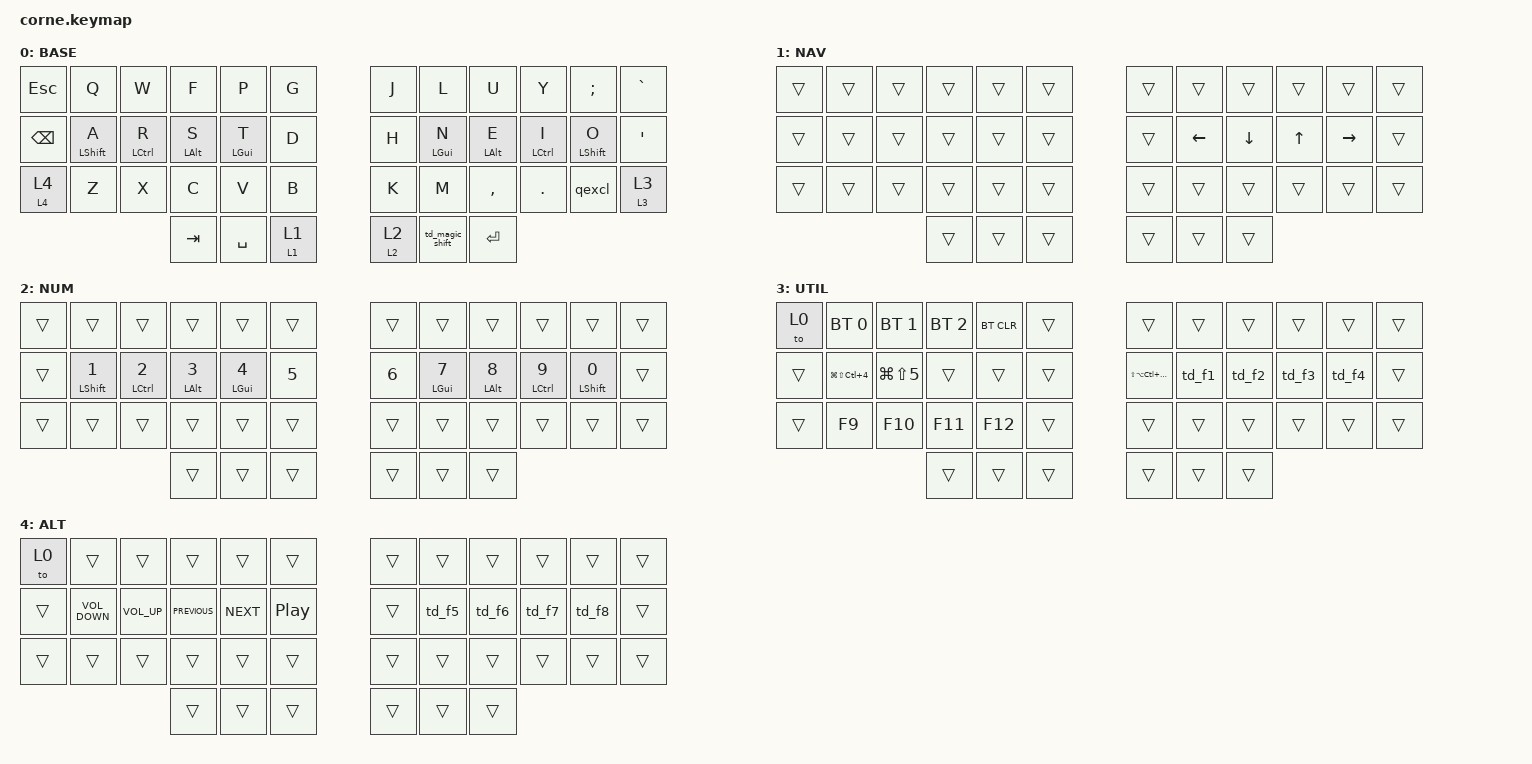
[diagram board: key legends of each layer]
/*
 * Copyright (c) 2020 The ZMK Contributors
 *
 * SPDX-License-Identifier: MIT
 */

#include <behaviors.dtsi>
#include <dt-bindings/zmk/bt.h>
#include <dt-bindings/zmk/keys.h>

/ {
    behaviors {
        hml: homerow_mods_left {
            compatible = "zmk,behavior-hold-tap";
            label = "HOMEROW_MODS_LEFT";
            #binding-cells = <2>;
            tapping-term-ms = <280>;
            quick-tap-ms = <175>;
            flavor = "balanced";
            bindings = <&kp>, <&kp>;

            require-prior-idle-ms = <150>;
            hold-trigger-on-release;
            hold-trigger-key-positions = <6 7 8 9 10 11 18 19 20 21 22 23 30 31 32 33 34 35 39 40 41 36 37 38>;
        };

        hmr: homerow_mods_right {
            compatible = "zmk,behavior-hold-tap";
            label = "HOMEROW_MODS_RIGHT";
            #binding-cells = <2>;
            tapping-term-ms = <280>;
            quick-tap-ms = <175>;
            flavor = "balanced";
            bindings = <&kp>, <&kp>;

            require-prior-idle-ms = <150>;
            hold-trigger-on-release;
            hold-trigger-key-positions = <0 1 2 3 4 5 12 13 14 15 16 17 24 25 26 27 28 29 36 37 38 39 40 41>;
        };

        ltq: ltq {
            compatible = "zmk,behavior-hold-tap";
            label = "LTQ";
            bindings = <&mo>, <&kp>;

            #binding-cells = <2>;
            tapping-term-ms = <600>;
            global-quick-tap;
            quick-tap-ms = <400>;
        };

        td_arrow_fn: td_arrow_fn {
            compatible = "zmk,behavior-tap-dance";
            label = "TD_ARROW_FN";
            #binding-cells = <0>;
            tapping-term-ms = <350>;
            bindings = <&kp GREATER_THAN>, <&arrow_fn>;
        };

        td_f1: td_f1 {
            compatible = "zmk,behavior-tap-dance";
            label = "TD_F1";
            #binding-cells = <0>;
            tapping-term-ms = <350>;
            bindings = <&kp F1>, <&kp LA(F1)>, <&kp LG(F1)>;
        };

        td_f2: td_f2 {
            compatible = "zmk,behavior-tap-dance";
            label = "TD_F2";
            #binding-cells = <0>;
            tapping-term-ms = <350>;
            bindings = <&kp F2>, <&kp LA(F2)>, <&kp LG(F2)>;
        };

        td_f3: td_f3 {
            compatible = "zmk,behavior-tap-dance";
            label = "TD_F3";
            #binding-cells = <0>;
            tapping-term-ms = <350>;
            bindings = <&kp F3>, <&kp LA(F3)>, <&kp LG(F3)>;
        };

        td_f4: td_f4 {
            compatible = "zmk,behavior-tap-dance";
            label = "TD_F4";
            #binding-cells = <0>;
            tapping-term-ms = <350>;
            bindings = <&kp F4>, <&kp LA(F4)>, <&kp LG(F4)>;
        };

        td_f5: td_f5 {
            compatible = "zmk,behavior-tap-dance";
            label = "TD_F5";
            #binding-cells = <0>;
            tapping-term-ms = <350>;
            bindings = <&kp F5>, <&kp LA(F5)>, <&kp LG(F5)>;
        };

        td_f6: td_f6 {
            compatible = "zmk,behavior-tap-dance";
            label = "TD_F6";
            #binding-cells = <0>;
            tapping-term-ms = <350>;
            bindings = <&kp F6>, <&kp LA(F6)>, <&kp LG(F6)>;
        };

        td_f7: td_f7 {
            compatible = "zmk,behavior-tap-dance";
            label = "TD_F7";
            #binding-cells = <0>;
            tapping-term-ms = <350>;
            bindings = <&kp F7>, <&kp LA(F7)>, <&kp LG(F7)>;
        };

        td_f8: td_f8 {
            compatible = "zmk,behavior-tap-dance";
            label = "TD_F8";
            #binding-cells = <0>;
            tapping-term-ms = <350>;
            bindings = <&kp F8>, <&kp LA(F8)>, <&kp LG(F8)>;
        };

        td_magic_shift: td_magic_shift {
            compatible = "zmk,behavior-tap-dance";
            label = "TD_MAGIC_SHIFT";
            #binding-cells = <0>;
            tapping-term-ms = <200>;
            bindings = <&sk LEFT_SHIFT>, <&caps_word>;
        };

        magic_layer: magic_layer {
            compatible = "zmk,behavior-hold-tap";
            label = "MAGIC_LAYER";
            bindings = <&mo>, <&sl>;

            #binding-cells = <2>;
            tapping-term-ms = <200>;
            quick-tap-ms = <175>;
            require-prior-idle-ms = <150>;
            flavor = "balanced";
            hold-trigger-on-release;
        };

        td_magic_layer_2: td_magic_layer_2 {
            compatible = "zmk,behavior-tap-dance";
            label = "TD_MAGIC_LAYER_2";
            #binding-cells = <0>;
            bindings = <&magic_layer 3 3>, <&tog 3>;

            tapping-term-ms = <200>;
        };

        td_magic_layer_3: td_magic_layer_3 {
            compatible = "zmk,behavior-tap-dance";
            label = "TD_MAGIC_LAYER_3";
            #binding-cells = <0>;
            bindings = <&magic_layer 3 3>, <&tog 3>;

            tapping-term-ms = <200>;
        };

        td_magic_layer_4: td_magic_layer_4 {
            compatible = "zmk,behavior-tap-dance";
            label = "TD_MAGIC_LAYER_4";
            #binding-cells = <0>;
            bindings = <&magic_layer 4 4>, <&tog 4>;

            tapping-term-ms = <200>;
        };

        qexcl: qexcl {
            compatible = "zmk,behavior-mod-morph";
            label = "QEXCL";
            bindings = <&kp QUESTION>, <&kp EXCL>;

            #binding-cells = <0>;
            mods = <(MOD_LSFT)>;
        };

        lpar: lpar {
            compatible = "zmk,behavior-mod-morph";
            label = "LPAR";
            bindings = <&kp LEFT_PARENTHESIS>, <&kp LESS_THAN>;

            #binding-cells = <0>;
            mods = <(MOD_LSFT)>;
        };

        rpar: rpar {
            compatible = "zmk,behavior-mod-morph";
            label = "RPAR";
            bindings = <&kp RIGHT_PARENTHESIS>, <&kp GREATER_THAN>;

            #binding-cells = <0>;
            mods = <(MOD_LSFT)>;
        };

        td_alt_layers: td_alt_layers {
            compatible = "zmk,behavior-tap-dance";
            label = "TD_ALT_LAYERS";
            #binding-cells = <0>;
            bindings = <&magic_layer 0 0>, <&magic_layer 4 4>;

            tapping-term-ms = <200>;
        };

        td_equals_afn: td_equals_afn {
            compatible = "zmk,behavior-tap-dance";
            label = "TD_EQUALS_AFN";
            #binding-cells = <0>;
            bindings = <&kp EQUAL>, <&arrow_fn>;
        };

        layer_hold_tap: layer_hold_tap {
            compatible = "zmk,behavior-hold-tap";
            label = "LAYER_HOLD_TAP";
            #binding-cells = <2>;
            tapping-term-ms = <280>;
            quick-tap-ms = <175>;
            flavor = "balanced";
            bindings = <&mo>, <&sl>;

            require-prior-idle-ms = <150>;
            hold-trigger-on-release;
        };
    };

    combos {
        compatible = "zmk,combos";

        at {
            bindings = <&kp AT>;
            key-positions = <2 14>;
        };

        hash {
            bindings = <&kp HASH>;
            key-positions = <3 15>;
        };

        dollar {
            bindings = <&kp DOLLAR>;
            key-positions = <4 16>;
        };

        percent {
            bindings = <&kp PERCENT>;
            key-positions = <5 17>;
        };

        grave {
            bindings = <&kp GRAVE>;
            key-positions = <26 14>;
        };

        backslash {
            bindings = <&kp BACKSLASH>;
            key-positions = <15 27>;
        };

        arrow_fn {
            bindings = <&arrow_fn>;
            key-positions = <16 28>;
        };

        tilde {
            bindings = <&kp TILDE>;
            key-positions = <17 29>;
        };

        caret {
            bindings = <&kp CARET>;
            key-positions = <18 6>;
        };

        equal_plus {
            bindings = <&kp EQUAL>;
            key-positions = <7 19>;
        };

        asterisk {
            bindings = <&kp ASTERISK>;
            key-positions = <8 20>;
        };

        ampersand {
            bindings = <&kp AMPS>;
            key-positions = <9 21>;
        };

        underscore {
            bindings = <&kp UNDER>;
            key-positions = <18 30>;
        };

        minus {
            bindings = <&kp MINUS>;
            key-positions = <31 19>;
        };

        slash {
            bindings = <&kp SLASH>;
            key-positions = <20 32>;
        };

        pipe {
            bindings = <&kp PIPE>;
            key-positions = <21 33>;
        };

        lpar {
            bindings = <&lpar>;
            key-positions = <19 20>;
        };

        rpar {
            bindings = <&rpar>;
            key-positions = <21 20>;
        };

        lbkt {
            bindings = <&kp LEFT_BRACKET>;
            key-positions = <31 32>;
        };

        rbkt {
            bindings = <&kp RIGHT_BRACKET>;
            key-positions = <33 32>;
        };

        rbrace {
            bindings = <&kp RIGHT_BRACE>;
            key-positions = <8 9>;
        };

        lbrace {
            bindings = <&kp LEFT_BRACE>;
            key-positions = <7 8>;
        };
    };

    macros {
        arrow_fn: arrow_fn {
            compatible = "zmk,behavior-macro";
            #binding-cells = <0>;
            bindings = <&kp EQUAL &kp GT>;
            label = "ARROW_FN";
        };
    };

    keymap {
        compatible = "zmk,keymap";

        default_layer {
            display-name = "BASE";
            bindings = <
&kp ESCAPE           &kp Q              &kp W         &kp F            &kp P            &kp G                  &kp J                &kp L            &kp U            &kp Y         &kp SEMI           &kp GRAVE
&kp BACKSPACE        &hml LEFT_SHIFT A  &hml LCTRL R  &hml LEFT_ALT S  &hml LEFT_GUI T  &kp D                  &kp H                &hmr LEFT_GUI N  &hmr LEFT_ALT E  &hmr LCTRL I  &hmr LEFT_SHIFT O  &kp SINGLE_QUOTE
&layer_hold_tap 4 4  &kp Z              &kp X         &kp C            &kp V            &kp B                  &kp K                &kp M            &kp COMMA        &kp DOT       &qexcl             &layer_hold_tap 3 3
                                                      &kp TAB          &kp SPACE        &layer_hold_tap 1 1    &layer_hold_tap 2 2  &td_magic_shift  &kp ENTER
            >;
        };

        nav {
            display-name = "NAV";
            bindings = <
&trans  &trans  &trans  &trans  &trans  &trans    &trans  &trans    &trans    &trans  &trans     &trans
&trans  &trans  &trans  &trans  &trans  &trans    &trans  &kp LEFT  &kp DOWN  &kp UP  &kp RIGHT  &trans
&trans  &trans  &trans  &trans  &trans  &trans    &trans  &trans    &trans    &trans  &trans     &trans
                        &trans  &trans  &trans    &trans  &trans    &trans
            >;
        };

        num {
            display-name = "NUM";
            bindings = <
&trans  &trans              &trans               &trans                  &trans                  &trans    &trans  &trans            &trans            &trans         &trans              &trans
&trans  &hml LEFT_SHIFT N1  &hml LCTRL NUMBER_2  &hml LEFT_ALT NUMBER_3  &hml LEFT_GUI NUMBER_4  &kp N5    &kp N6  &hmr LEFT_GUI N7  &hmr LEFT_ALT N8  &hmr LCTRL N9  &hmr LEFT_SHIFT N0  &trans
&trans  &trans              &trans               &trans                  &trans                  &trans    &trans  &trans            &trans            &trans         &trans              &trans
                                                 &trans                  &trans                  &trans    &trans  &trans            &trans
            >;
        };

        utils_layer {
            display-name = "UTIL";
            bindings = <
&to 0   &bt BT_SEL 0              &bt BT_SEL 1    &bt BT_SEL 2  &bt BT_CLR  &trans    &trans                  &trans  &trans  &trans  &trans  &trans
&trans  &kp LG(LS(LC(NUMBER_4)))  &kp LG(LS(N5))  &trans        &trans      &trans    &kp LS(LA(LC(LG(F9))))  &td_f1  &td_f2  &td_f3  &td_f4  &trans
&trans  &kp F9                    &kp F10         &kp F11       &kp F12     &trans    &trans                  &trans  &trans  &trans  &trans  &trans
                                                  &trans        &trans      &trans    &trans                  &trans  &trans
            >;
        };

        alt {
            bindings = <
&to 0   &trans             &trans           &trans          &trans      &trans              &trans  &trans  &trans  &trans  &trans  &trans
&trans  &kp C_VOLUME_DOWN  &kp C_VOLUME_UP  &kp C_PREVIOUS  &kp C_NEXT  &kp C_PLAY_PAUSE    &trans  &td_f5  &td_f6  &td_f7  &td_f8  &trans
&trans  &trans             &trans           &trans          &trans      &trans              &trans  &trans  &trans  &trans  &trans  &trans
                                            &trans          &trans      &trans              &trans  &trans  &trans
            >;

            label = "ALT";
        };
    };
};
